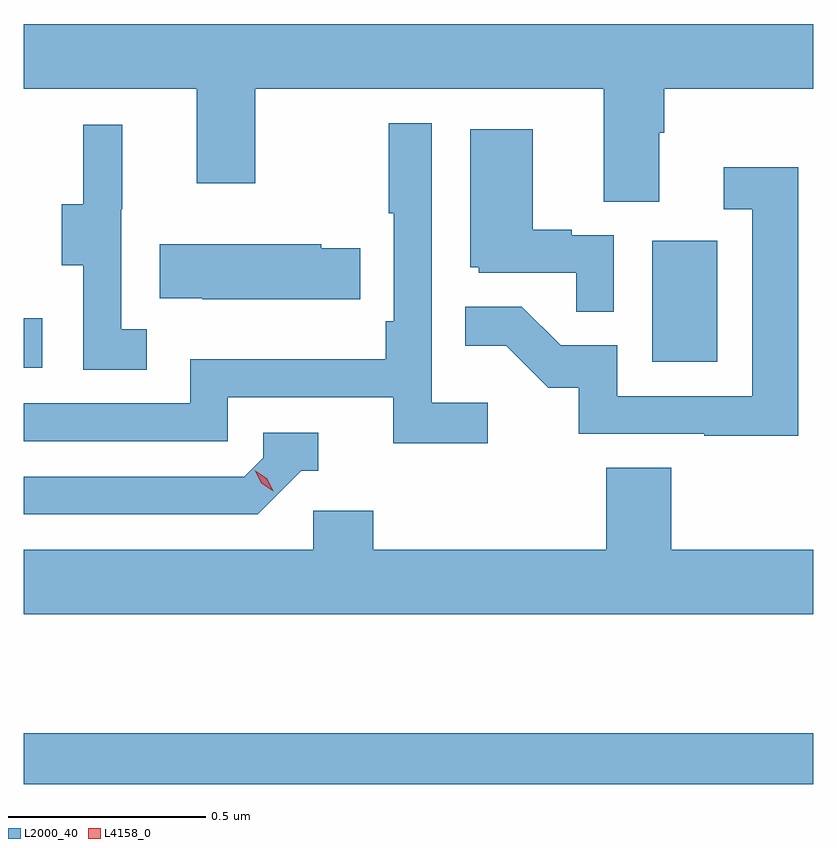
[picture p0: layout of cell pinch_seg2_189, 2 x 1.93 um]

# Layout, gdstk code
import gdstk
lib = gdstk.Library(unit=1e-6, precision=1e-09)
def R(c, l, rs):  # rectangles x0, y0, x1, y1
    for r in rs: c.add(gdstk.rectangle(r[:2], r[2:], *l))
def P(c, l, *ps):  # polygons
    for p in ps: c.add(gdstk.Polygon(p, *l))
L2000_40 = (2000, 40)
L4158_0 = (4158, 0)

pinch_seg2_189 = lib.new_cell('pinch_seg2_189')
R(pinch_seg2_189, L2000_40, [(1138.571,636.55,1140.571,636.679), (1138.571,637.605,1138.618,637.73), (1140.164,637.62,1140.328,637.927)])
P(pinch_seg2_189, L2000_40, [(1140.181,638.2),(1140.194,638.2),(1140.194,638.312),(1140.571,638.312),(1140.571,638.476),(1138.571,638.476),(1138.571,638.312),(1139.009,638.312),(1139.009,638.073),(1139.157,638.073),(1139.157,638.312),(1140.041,638.312),(1140.041,638.026),(1140.181,638.026)],
  [(1139.746,637.516),(1139.604,637.516),(1139.604,638.224),(1139.496,638.224),(1139.496,637.996),(1139.508,637.996),(1139.508,637.723),(1139.488,637.723),(1139.488,637.627),(1138.992,637.627),(1138.992,637.515),(1138.571,637.515),(1138.571,637.419),(1139.088,637.419),(1139.088,637.53),(1139.507,637.53),(1139.507,637.414),(1139.746,637.414)],
  [(1138.882,637.703),(1138.818,637.703),(1138.818,638.007),(1138.82,638.007),(1138.82,638.221),(1138.721,638.221),(1138.721,638.019),(1138.667,638.019),(1138.667,637.864),(1138.722,637.864),(1138.722,637.6),(1138.882,637.6)],
  [(1140.066,637.941),(1139.96,637.941),(1139.96,637.954),(1139.86,637.954),(1139.86,638.209),(1139.702,638.209),(1139.702,637.86),(1139.724,637.86),(1139.724,637.845),(1139.971,637.845),(1139.971,637.747),(1140.066,637.747)],
  [(1140.533,638.113),(1140.345,638.113),(1140.345,638.007),(1140.417,638.007),(1140.417,637.533),(1140.075,637.533),(1140.075,637.662),(1139.931,637.662),(1139.833,637.76),(1139.689,637.76),(1139.689,637.661),(1139.793,637.661),(1139.9,637.554),(1139.977,637.554),(1139.977,637.437),(1140.295,637.437),(1140.295,637.432),(1140.533,637.432)],
  [(1139.423,637.908),(1139.325,637.908),(1139.325,637.918),(1138.915,637.918),(1138.915,637.781),(1139.023,637.781),(1139.023,637.778),(1139.423,637.778)],
  [(1139.274,637.344),(1139.317,637.344),(1139.317,637.44),(1139.178,637.44),(1139.178,637.377),(1139.13,637.329),(1138.571,637.329),(1138.571,637.233),(1139.163,637.233)],
  [(1140.571,637.144),(1140.212,637.144),(1140.212,637.352),(1140.047,637.352),(1140.047,637.144),(1139.456,637.144),(1139.456,637.242),(1139.304,637.242),(1139.304,637.144),(1138.571,637.144),(1138.571,636.98),(1140.571,636.98)])
P(pinch_seg2_189, L4158_0, [(1139.203,637.292),(1139.172,637.312),(1139.156,637.345),(1139.156,637.345),(1139.156,637.345),(1139.187,637.325),(1139.203,637.293),(1139.203,637.292)])

lib.write_gds('pinch_seg2_189.gds')
